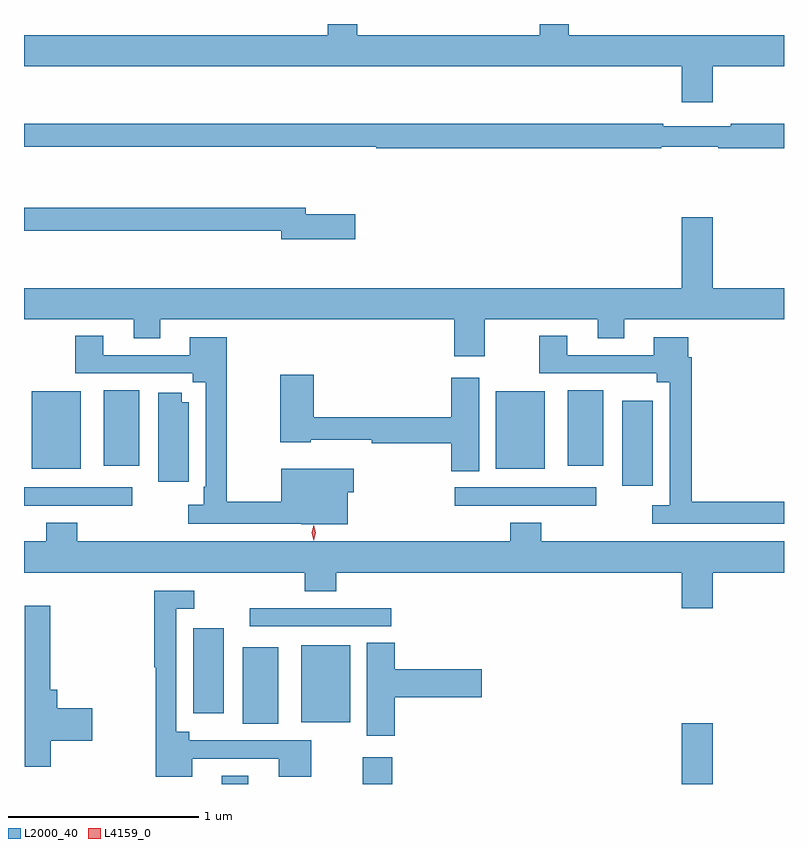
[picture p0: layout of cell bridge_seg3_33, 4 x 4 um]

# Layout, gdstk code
import gdstk
lib = gdstk.Library(unit=1e-6, precision=1e-09)
def R(c, l, rs):  # rectangles x0, y0, x1, y1
    for r in rs: c.add(gdstk.rectangle(r[:2], r[2:], *l))
def P(c, l, *ps):  # polygons
    for p in ps: c.add(gdstk.Polygon(p, *l))
L2000_40 = (2000, 40)
L4159_0 = (4159, 0)

bridge_seg3_33 = lib.new_cell('bridge_seg3_33')
R(bridge_seg3_33, L2000_40, [(738.011,709.127,738.151,709.171), (738.755,709.127,738.908,709.267), (740.432,709.127,740.596,709.447), (738.122,709.445,738.31,709.846), (738.431,709.451,738.688,709.858), (737.861,709.5,738.022,709.948), (738.159,709.956,738.904,710.052), (736.971,710.592,737.542,710.688), (739.239,710.592,739.984,710.688), (740.12,710.697,740.281,711.145), (737.012,710.786,737.269,711.193), (739.454,710.786,739.711,711.193), (737.39,710.801,737.578,711.199), (739.832,710.801,740.02,711.199)])
P(bridge_seg3_33, L2000_40, [(740.596,712.904),(740.971,712.904),(740.971,713.068),(739.838,713.068),(739.838,713.127),(739.685,713.127),(739.685,713.068),(738.725,713.068),(738.725,713.127),(738.569,713.127),(738.569,713.068),(736.971,713.068),(736.971,712.904),(740.432,712.904),(740.432,712.716),(740.596,712.716)],
  [(740.326,712.482),(740.626,712.482),(740.626,712.474),(740.971,712.474),(740.971,712.603),(740.692,712.603),(740.692,712.59),(740.336,712.59),(740.336,712.603),(736.971,712.603),(736.971,712.482),(738.826,712.482),(738.826,712.474),(740.326,712.474)],
  [(738.715,712.125),(738.454,712.125),(738.454,712.159),(736.971,712.159),(736.971,712.038),(738.326,712.038),(738.326,711.995),(738.715,711.995)],
  [(739.395,711.572),(739.991,711.572),(739.991,711.473),(740.131,711.473),(740.131,711.572),(740.971,711.572),(740.971,711.736),(740.596,711.736),(740.596,712.111),(740.432,712.111),(740.432,711.736),(736.971,711.736),(736.971,711.572),(737.549,711.572),(737.549,711.473),(737.689,711.473),(737.689,711.572),(739.235,711.572),(739.235,711.378),(739.395,711.378)],
  [(738.676,710.663),(738.706,710.663),(738.706,710.785),(738.326,710.785),(738.326,710.612),(738.037,710.612),(738.037,711.478),(737.843,711.478),(737.843,711.384),(737.389,711.384),(737.389,711.487),(737.242,711.487),(737.242,711.288),(737.858,711.288),(737.858,711.242),(737.928,711.242),(737.928,710.692),(737.916,710.692),(737.916,710.596),(737.835,710.596),(737.835,710.496),(738.43,710.496),(738.43,710.495),(738.676,710.495)],
  [(740.971,710.612),(740.486,710.612),(740.486,711.374),(740.467,711.374),(740.467,711.478),(740.285,711.478),(740.285,711.384),(739.831,711.384),(739.831,711.487),(739.684,711.487),(739.684,711.288),(740.3,711.288),(740.3,711.242),(740.37,711.242),(740.37,710.595),(740.277,710.595),(740.277,710.496),(740.971,710.496)],
  [(739.366,711.265),(739.22,711.265),(739.22,711.056),(738.497,711.056),(738.497,711.28),(738.319,711.28),(738.319,710.927),(738.48,710.927),(738.48,710.939),(738.802,710.939),(738.802,710.92),(739.22,710.92),(739.22,710.773),(739.366,710.773)],
  [(737.839,711.136),(737.8,711.136),(737.8,711.185),(737.678,711.185),(737.678,710.718),(737.839,710.718)],
  [(740.596,710.24),(740.971,710.24),(740.971,710.404),(739.694,710.404),(739.694,710.503),(739.529,710.503),(739.529,710.404),(737.252,710.404),(737.252,710.503),(737.087,710.503),(737.087,710.404),(736.971,710.404),(736.971,710.24),(738.449,710.24),(738.449,710.141),(738.614,710.141),(738.614,710.24),(740.432,710.24),(740.432,710.052),(740.596,710.052)],
  [(737.857,709.26),(738.311,709.26),(738.311,709.166),(738.484,709.166),(738.484,709.356),(737.842,709.356),(737.842,709.402),(737.772,709.402),(737.772,710.049),(737.866,710.049),(737.866,710.145),(737.656,710.145),(737.656,709.742),(737.664,709.742),(737.664,709.166),(737.857,709.166)],
  [(737.111,709.355),(737.329,709.355),(737.329,709.526),(737.147,709.526),(737.147,709.624),(737.108,709.624),(737.108,710.065),(736.976,710.065),(736.976,709.218),(737.111,709.218)],
  [(738.923,709.583),(739.381,709.583),(739.381,709.73),(738.923,709.73),(738.923,709.871),(738.776,709.871),(738.776,709.38),(738.923,709.38)])
P(bridge_seg3_33, L4159_0, [(738.496,710.409),(738.496,710.41),(738.486,710.449),(738.496,710.488),(738.496,710.488),(738.496,710.488),(738.506,710.449),(738.496,710.41)])

lib.write_gds('bridge_seg3_33.gds')
